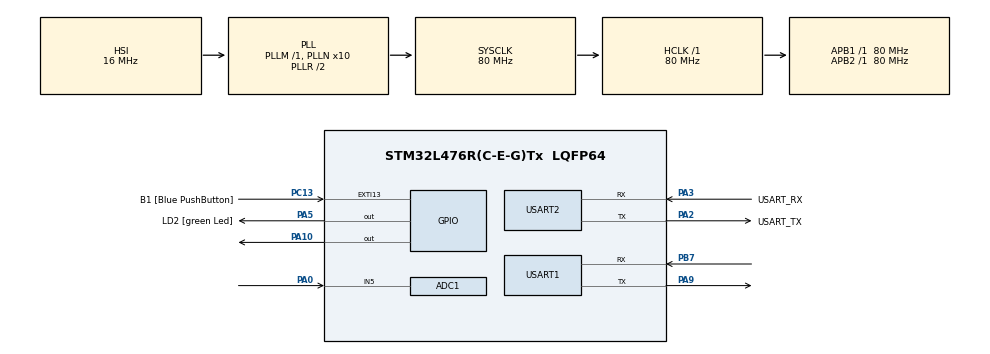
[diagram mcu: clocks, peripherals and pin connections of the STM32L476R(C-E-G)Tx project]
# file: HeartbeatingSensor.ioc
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ADC1.Channel-4\#ChannelRegularConversion=ADC_CHANNEL_5
ADC1.ClockPrescaler=ADC_CLOCK_ASYNC_DIV1
ADC1.ContinuousConvMode=ENABLE
ADC1.NbrOfConversionFlag=1
ADC1.OffsetNumber-4\#ChannelRegularConversion=ADC_OFFSET_NONE
ADC1.Rank-4\#ChannelRegularConversion=1
ADC1.Resolution=ADC_RESOLUTION_12B
ADC1.SamplingTime-4\#ChannelRegularConversion=ADC_SAMPLETIME_2CYCLES_5
ADC1.master=1
Mcu.Family=STM32L4
Mcu.Name=STM32L476R(C-E-G)Tx
Mcu.Package=LQFP64
NVIC.PriorityGroup=NVIC_PRIORITYGROUP_4
PA0.Signal=ADCx_IN5
PA10.Signal=GPIO_Output
PA13\ (JTMS-SWDIO).GPIO_Label=TMS
PA13\ (JTMS-SWDIO).Mode=Serial_Wire
PA13\ (JTMS-SWDIO).Signal=SYS_JTMS-SWDIO
PA14\ (JTCK-SWCLK).GPIO_Label=TCK
PA14\ (JTCK-SWCLK).Mode=Serial_Wire
PA14\ (JTCK-SWCLK).Signal=SYS_JTCK-SWCLK
PA2.GPIO_Label=USART_TX
PA2.GPIO_Mode=GPIO_MODE_AF_PP
PA2.GPIO_PuPd=GPIO_NOPULL
PA2.GPIO_Speed=GPIO_SPEED_FREQ_VERY_HIGH
PA2.Mode=Asynchronous
PA2.Signal=USART2_TX
PA3.GPIO_Label=USART_RX
PA3.GPIO_Mode=GPIO_MODE_AF_PP
PA3.GPIO_PuPd=GPIO_NOPULL
PA3.GPIO_Speed=GPIO_SPEED_FREQ_VERY_HIGH
PA3.Mode=Asynchronous
PA3.Signal=USART2_RX
PA5.GPIO_Label=LD2 [green Led]
PA5.GPIO_ModeDefaultOutputPP=GPIO_MODE_OUTPUT_PP
PA5.GPIO_PuPd=GPIO_NOPULL
PA5.GPIO_Speed=GPIO_SPEED_FREQ_LOW
PA5.Signal=GPIO_Output
PA9.Mode=Asynchronous
PA9.Signal=USART1_TX
PB3\ (JTDO-TRACESWO).GPIO_Label=SWO
PB3\ (JTDO-TRACESWO).Signal=SYS_JTDO-SWO
PB7.Mode=Asynchronous
PB7.Signal=USART1_RX
PC13.GPIO_Label=B1 [Blue PushButton]
PC13.GPIO_ModeDefaultEXTI=GPIO_MODE_IT_FALLING
PC13.GPIO_PuPd=GPIO_NOPULL
PC13.Signal=GPXTI13
PC14-OSC32_IN\ (PC14).Mode=LSE-External-Oscillator
PC14-OSC32_IN\ (PC14).Signal=RCC_OSC32_IN
PC15-OSC32_OUT\ (PC15).Mode=LSE-External-Oscillator
PC15-OSC32_OUT\ (PC15).Signal=RCC_OSC32_OUT
PH0-OSC_IN\ (PH0).Signal=RCC_OSC_IN
PH1-OSC_OUT\ (PH1).Signal=RCC_OSC_OUT
ProjectManager.HeapSize=0x200
ProjectManager.StackSize=0x400
ProjectManager.TargetToolchain=STM32CubeIDE
RCC.ADCFreq_Value=64000000
RCC.AHBFreq_Value=80000000
RCC.APB1Freq_Value=80000000
RCC.APB1TimFreq_Value=80000000
RCC.APB2Freq_Value=80000000
RCC.APB2TimFreq_Value=80000000
RCC.CortexFreq_Value=80000000
RCC.HCLKFreq_Value=80000000
RCC.HSE_VALUE=8000000
RCC.HSI_VALUE=16000000
RCC.MSI_VALUE=4000000
RCC.PLLN=10
RCC.PLLSourceVirtual=RCC_PLLSOURCE_HSI
RCC.PREFETCH_ENABLE=1
RCC.SYSCLKFreq_VALUE=80000000
RCC.SYSCLKSource=RCC_SYSCLKSOURCE_PLLCLK
RCC.USBFreq_Value=64000000
RCC.VCOOutputFreq_Value=160000000
SH.ADCx_IN5.0=ADC1_IN5,IN5-Single-Ended
USART1.VirtualMode-Asynchronous=VM_ASYNC
USART2.VirtualMode-Asynchronous=VM_ASYNC
board=NUCLEO-L476RG

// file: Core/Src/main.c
/* USER CODE BEGIN Header */
/**
  ******************************************************************************
  * @file           : main.c
  * @brief          : Main program body
  ******************************************************************************
  * @attention
  *
  * Copyright (c) 2023 STMicroelectronics.
  * All rights reserved.
  *
  * This software is licensed under terms that can be found in the LICENSE file
  * in the root directory of this software component.
  * If no LICENSE file comes with this software, it is provided AS-IS.
  *
  ******************************************************************************
  */
/* USER CODE END Header */
#include "main.h"

/* USER CODE BEGIN Includes */
#include <stdio.h>
#include <string.h>
#include <stdbool.h>
#include "ensea.h"
#include <stm32l4xx_hal.h>
/* USER CODE END Includes */

ADC_HandleTypeDef hadc1;

UART_HandleTypeDef huart1;
UART_HandleTypeDef huart2;

/* USER CODE BEGIN PV */

		//uint16_t temp = 0;
		//char msg[20];

		uint32_t rawValue = 0;

		#define ADC_CHANNEL       ADC_CHANNEL_0
		#define ADC_RESOLUTION    ADC_RESOLUTION_12B
		#define ADC_MAX_VALUE     4095
		#define VOLTAGE_REFERENCE 3.3
		#define SAMPLING_PERIOD   50  // en millisecondes

		//uint32_t adc_value;
		int adc_value;
		float voltage, frequency;

/* USER CODE END PV */

void SystemClock_Config(void);
static void MX_GPIO_Init(void);
static void MX_USART2_UART_Init(void);
static void MX_USART1_UART_Init(void);
static void MX_ADC1_Init(void);

/* USER CODE BEGIN 0 */
#ifdef __GNUC__
#define PUTCHAR_PROTOTYPE int __io_putchar(int ch)
#define GETCHAR_PROTOTYPE int __io_getchar(void)
#else
#define PUTCHAR_PROTOTYPE int fputc(int ch, FILE *f)
#define GETCHAR_PROTOTYPE int fgetc(FILE *f)
#endif

PUTCHAR_PROTOTYPE
{
  HAL_UART_Transmit(&huart2, (uint8_t *)&ch, 1, HAL_MAX_DELAY);
  return ch;
}

GETCHAR_PROTOTYPE
{
  uint8_t ch = 0;

  /* Clear the Overrun flag just before receiving the first character */
  __HAL_UART_CLEAR_OREFLAG(&huart2);

  /* Wait for reception of a character on the USART RX line and echo this
   * character on console */
  HAL_UART_Receive(&huart2, (uint8_t *)&ch, 1, HAL_MAX_DELAY);
  HAL_UART_Transmit(&huart2, (uint8_t *)&ch, 1, HAL_MAX_DELAY);
  return ch;
}
/* USER CODE END 0 */

int main(void)
{
  /* USER CODE BEGIN 1 */

	bool heartbeatDetected(uint32_t adc_port, uint32_t delay) {
	    static uint32_t maxValue = 0;
	    static bool isPeak = false;
	    bool result = false;

	    HAL_ADC_Start(&hadc1);
	    if (HAL_ADC_PollForConversion(&hadc1, HAL_MAX_DELAY) == HAL_OK) {
	        rawValue = HAL_ADC_GetValue(&hadc1);
	    }
	    HAL_ADC_Stop(&hadc1);

	    rawValue *= (1000 / delay);

	    if (rawValue * 4 < maxValue) {
	        maxValue = rawValue * 0.8;
	    }

	    if (rawValue > maxValue - (1000 / delay)) {
	        if (rawValue > maxValue) {
	            maxValue = rawValue;
	        }
	        if (!isPeak) {
	            result = true;
	        }
	        isPeak = true;
	    } else if (rawValue < maxValue - (3000 / delay)) {
	        isPeak = false;
	        maxValue -= (1000 / delay);
	    }

	    return result;
	}

  /* USER CODE END 1 */

  /* MCU Configuration--------------------------------------------------------*/

  /* Reset of all peripherals, Initializes the Flash interface and the Systick. */
  HAL_Init();

  /* Configure the system clock */
  SystemClock_Config();

  /* Initialize all configured peripherals */
  MX_GPIO_Init();
  MX_USART2_UART_Init();
  MX_USART1_UART_Init();
  MX_ADC1_Init();
  /* USER CODE BEGIN 2 */
  setvbuf(stdin, NULL, _IONBF, 0);	// Buffer d'entrée à 0 pour que scanf fonctionne.

  //setup();
  /* USER CODE END 2 */

  /* Infinite loop */
  /* USER CODE BEGIN WHILE */
  while (1)
  {
	  if (heartbeatDetected(ADC_CHANNEL_0, 60))
	  {
		  printf("bool = 1 \r\n");
		  HAL_Delay(500);
	  }
	  else
	  {
		  printf("bool = 0 \r\n");
		  HAL_Delay(500);
	  }
	  /*
	  loop();

	  HAL_ADC_Start(&hadc1);
	          if (HAL_ADC_PollForConversion(&hadc1, SAMPLING_PERIOD) == HAL_OK)
	          {
	              adc_value = HAL_ADC_GetValue(&hadc1) - 122 ;
	              adc_value *= (1000/SAMPLING_PERIOD);
	              voltage = (adc_value*VOLTAGE_REFERENCE)/ADC_MAX_VALUE;
	              // Calcul de la fréquence en fonction de la tension
	              frequency = voltage * 2/3 ;  // veleur à changer
	              printf("Fréquence cardiaque : %.2f BPM\n", frequency);
	              //printf("voltage :  : %u \f", voltage);
	          }
	          HAL_ADC_Stop(&hadc1);
	          HAL_Delay(10*SAMPLING_PERIOD);
*/

    /* USER CODE END WHILE */

  }
}

void SystemClock_Config(void)
{
  RCC_OscInitTypeDef RCC_OscInitStruct = {0};
  RCC_ClkInitTypeDef RCC_ClkInitStruct = {0};

  /** Configure the main internal regulator output voltage
  */
  if (HAL_PWREx_ControlVoltageScaling(PWR_REGULATOR_VOLTAGE_SCALE1) != HAL_OK)
  {
    Error_Handler();
  }

  /** Initializes the RCC Oscillators according to the specified parameters
  * in the RCC_OscInitTypeDef structure.
  */
  RCC_OscInitStruct.OscillatorType = RCC_OSCILLATORTYPE_HSI;
  RCC_OscInitStruct.HSIState = RCC_HSI_ON;
  RCC_OscInitStruct.HSICalibrationValue = RCC_HSICALIBRATION_DEFAULT;
  RCC_OscInitStruct.PLL.PLLState = RCC_PLL_ON;
  RCC_OscInitStruct.PLL.PLLSource = RCC_PLLSOURCE_HSI;
  RCC_OscInitStruct.PLL.PLLM = 1;
  RCC_OscInitStruct.PLL.PLLN = 10;
  RCC_OscInitStruct.PLL.PLLP = RCC_PLLP_DIV7;
  RCC_OscInitStruct.PLL.PLLQ = RCC_PLLQ_DIV2;
  RCC_OscInitStruct.PLL.PLLR = RCC_PLLR_DIV2;
  if (HAL_RCC_OscConfig(&RCC_OscInitStruct) != HAL_OK)
  {
    Error_Handler();
  }

  /** Initializes the CPU, AHB and APB buses clocks
  */
  RCC_ClkInitStruct.ClockType = RCC_CLOCKTYPE_HCLK|RCC_CLOCKTYPE_SYSCLK
                              |RCC_CLOCKTYPE_PCLK1|RCC_CLOCKTYPE_PCLK2;
  RCC_ClkInitStruct.SYSCLKSource = RCC_SYSCLKSOURCE_PLLCLK;
  RCC_ClkInitStruct.AHBCLKDivider = RCC_SYSCLK_DIV1;
  RCC_ClkInitStruct.APB1CLKDivider = RCC_HCLK_DIV1;
  RCC_ClkInitStruct.APB2CLKDivider = RCC_HCLK_DIV1;

  if (HAL_RCC_ClockConfig(&RCC_ClkInitStruct, FLASH_LATENCY_4) != HAL_OK)
  {
    Error_Handler();
  }
}

static void MX_ADC1_Init(void)
{

  ADC_MultiModeTypeDef multimode = {0};
  ADC_ChannelConfTypeDef sConfig = {0};

  /** Common config
  */
  hadc1.Instance = ADC1;
  hadc1.Init.ClockPrescaler = ADC_CLOCK_ASYNC_DIV1;
  hadc1.Init.Resolution = ADC_RESOLUTION_12B;
  hadc1.Init.DataAlign = ADC_DATAALIGN_RIGHT;
  hadc1.Init.ScanConvMode = ADC_SCAN_DISABLE;
  hadc1.Init.EOCSelection = ADC_EOC_SINGLE_CONV;
  hadc1.Init.LowPowerAutoWait = DISABLE;
  hadc1.Init.ContinuousConvMode = ENABLE;
  hadc1.Init.NbrOfConversion = 1;
  hadc1.Init.DiscontinuousConvMode = DISABLE;
  hadc1.Init.ExternalTrigConv = ADC_SOFTWARE_START;
  hadc1.Init.ExternalTrigConvEdge = ADC_EXTERNALTRIGCONVEDGE_NONE;
  hadc1.Init.DMAContinuousRequests = DISABLE;
  hadc1.Init.Overrun = ADC_OVR_DATA_PRESERVED;
  hadc1.Init.OversamplingMode = DISABLE;
  if (HAL_ADC_Init(&hadc1) != HAL_OK)
  {
    Error_Handler();
  }

  /** Configure the ADC multi-mode
  */
  multimode.Mode = ADC_MODE_INDEPENDENT;
  if (HAL_ADCEx_MultiModeConfigChannel(&hadc1, &multimode) != HAL_OK)
  {
    Error_Handler();
  }

  /** Configure Regular Channel
  */
  sConfig.Channel = ADC_CHANNEL_5;
  sConfig.Rank = ADC_REGULAR_RANK_1;
  sConfig.SamplingTime = ADC_SAMPLETIME_2CYCLES_5;
  sConfig.SingleDiff = ADC_SINGLE_ENDED;
  sConfig.OffsetNumber = ADC_OFFSET_NONE;
  sConfig.Offset = 0;
  if (HAL_ADC_ConfigChannel(&hadc1, &sConfig) != HAL_OK)
  {
    Error_Handler();
  }

}

static void MX_USART1_UART_Init(void)
{

  huart1.Instance = USART1;
  huart1.Init.BaudRate = 115200;
  huart1.Init.WordLength = UART_WORDLENGTH_8B;
  huart1.Init.StopBits = UART_STOPBITS_1;
  huart1.Init.Parity = UART_PARITY_NONE;
  huart1.Init.Mode = UART_MODE_TX_RX;
  huart1.Init.HwFlowCtl = UART_HWCONTROL_NONE;
  huart1.Init.OverSampling = UART_OVERSAMPLING_16;
  huart1.Init.OneBitSampling = UART_ONE_BIT_SAMPLE_DISABLE;
  huart1.AdvancedInit.AdvFeatureInit = UART_ADVFEATURE_NO_INIT;
  if (HAL_UART_Init(&huart1) != HAL_OK)
  {
    Error_Handler();
  }

}

static void MX_USART2_UART_Init(void)
{

  huart2.Instance = USART2;
  huart2.Init.BaudRate = 115200;
  huart2.Init.WordLength = UART_WORDLENGTH_8B;
  huart2.Init.StopBits = UART_STOPBITS_1;
  huart2.Init.Parity = UART_PARITY_NONE;
  huart2.Init.Mode = UART_MODE_TX_RX;
  huart2.Init.HwFlowCtl = UART_HWCONTROL_NONE;
  huart2.Init.OverSampling = UART_OVERSAMPLING_16;
  huart2.Init.OneBitSampling = UART_ONE_BIT_SAMPLE_DISABLE;
  huart2.AdvancedInit.AdvFeatureInit = UART_ADVFEATURE_NO_INIT;
  if (HAL_UART_Init(&huart2) != HAL_OK)
  {
    Error_Handler();
  }

}

static void MX_GPIO_Init(void)
{
  GPIO_InitTypeDef GPIO_InitStruct = {0};

  /* GPIO Ports Clock Enable */
  __HAL_RCC_GPIOC_CLK_ENABLE();
  __HAL_RCC_GPIOH_CLK_ENABLE();
  __HAL_RCC_GPIOA_CLK_ENABLE();
  __HAL_RCC_GPIOB_CLK_ENABLE();

  /*Configure GPIO pin Output Level */
  HAL_GPIO_WritePin(GPIOA, LD2_Pin|GPIO_PIN_10, GPIO_PIN_RESET);

  /*Configure GPIO pin : B1_Pin */
  GPIO_InitStruct.Pin = B1_Pin;
  GPIO_InitStruct.Mode = GPIO_MODE_IT_FALLING;
  GPIO_InitStruct.Pull = GPIO_NOPULL;
  HAL_GPIO_Init(B1_GPIO_Port, &GPIO_InitStruct);

  /*Configure GPIO pins : LD2_Pin PA10 */
  GPIO_InitStruct.Pin = LD2_Pin|GPIO_PIN_10;
  GPIO_InitStruct.Mode = GPIO_MODE_OUTPUT_PP;
  GPIO_InitStruct.Pull = GPIO_NOPULL;
  GPIO_InitStruct.Speed = GPIO_SPEED_FREQ_LOW;
  HAL_GPIO_Init(GPIOA, &GPIO_InitStruct);

}

void Error_Handler(void)
{
  __disable_irq();
  while (1)
  {
  }
}
